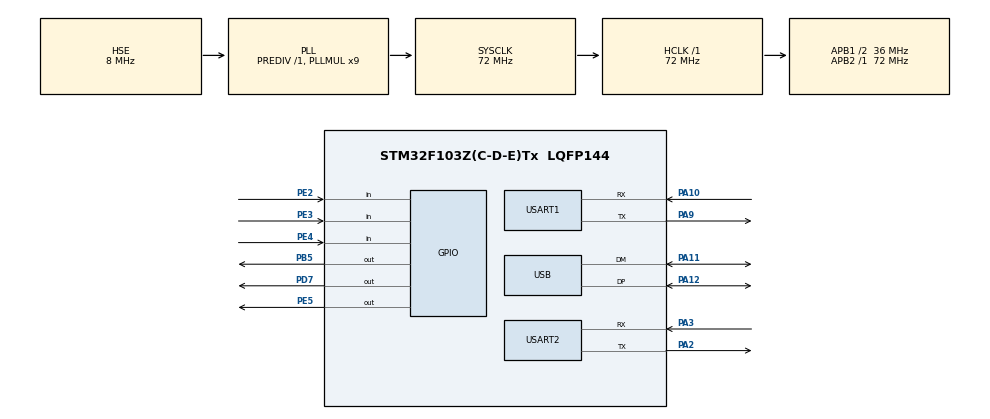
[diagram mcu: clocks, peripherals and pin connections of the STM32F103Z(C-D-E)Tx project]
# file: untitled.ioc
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FREERTOS.Tasks01=defaultTask,24,128,StartDefaultTask,Default,NULL,Dynamic,NULL,NULL;myLEDTask,8,128,StartLEDTask,Default,NULL,Dynamic,NULL,NULL;myUsart2Task,8,128,StartUsart2Task,Default,NULL,Dynamic,NULL,NULL;myUSBTask,8,128,StartUSBTask,Default,NULL,Dynamic,NULL,NULL
FREERTOS.configUSE_NEWLIB_REENTRANT=1
Mcu.Family=STM32F1
Mcu.Name=STM32F103Z(C-D-E)Tx
Mcu.Package=LQFP144
NVIC.PriorityGroup=NVIC_PRIORITYGROUP_4
NVIC.TIM2_IRQn=true\:5\:0\:false\:false\:true\:true\:true\:true\:true
NVIC.TIM7_IRQn=true\:15\:0\:false\:false\:true\:false\:false\:true\:true
NVIC.TimeBase=TIM7_IRQn
NVIC.TimeBaseIP=TIM7
NVIC.USART2_IRQn=true\:5\:0\:false\:false\:true\:true\:true\:true\:true
NVIC.USB_LP_CAN1_RX0_IRQn=true\:5\:0\:false\:false\:true\:true\:false\:true\:true
OSC_IN.Mode=HSE-External-Oscillator
OSC_IN.Signal=RCC_OSC_IN
OSC_OUT.Mode=HSE-External-Oscillator
OSC_OUT.Signal=RCC_OSC_OUT
PA10.Mode=Asynchronous
PA10.Signal=USART1_RX
PA11.Mode=Device
PA11.Signal=USB_DM
PA12.Mode=Device
PA12.Signal=USB_DP
PA13.Mode=Serial_Wire
PA13.Signal=SYS_JTMS-SWDIO
PA14.Mode=Serial_Wire
PA14.Signal=SYS_JTCK-SWCLK
PA2.Mode=Asynchronous
PA2.Signal=USART2_TX
PA3.Mode=Asynchronous
PA3.Signal=USART2_RX
PA9.Mode=Asynchronous
PA9.Signal=USART1_TX
PB5.Signal=GPIO_Output
PD7.Signal=GPIO_Output
PE2.Signal=GPIO_Input
PE3.Signal=GPIO_Input
PE4.Signal=GPIO_Input
PE5.Signal=GPIO_Output
ProjectManager.HeapSize=0x200
ProjectManager.StackSize=0x400
ProjectManager.TargetToolchain=STM32CubeIDE
RCC.AHBFreq_Value=72000000
RCC.APB1CLKDivider=RCC_HCLK_DIV2
RCC.APB1Freq_Value=36000000
RCC.APB1TimFreq_Value=72000000
RCC.APB2Freq_Value=72000000
RCC.APB2TimFreq_Value=72000000
RCC.HCLKFreq_Value=72000000
RCC.PLLMUL=RCC_PLL_MUL9
RCC.PLLSourceVirtual=RCC_PLLSOURCE_HSE
RCC.SYSCLKFreq_VALUE=72000000
RCC.SYSCLKSource=RCC_SYSCLKSOURCE_PLLCLK
RCC.USBFreq_Value=48000000
RCC.USBPrescaler=RCC_USBCLKSOURCE_PLL_DIV1_5
TIM2.Period=500
TIM2.Prescaler=72-1
USART1.VirtualMode=VM_ASYNC
USART2.VirtualMode=VM_ASYNC
USB_DEVICE.CLASS_NAME_FS=CUSTOM_HID
USB_DEVICE.USBD_CUSTOMHID_OUTREPORT_BUF_SIZE=64
USB_DEVICE.USBD_CUSTOM_HID_REPORT_DESC_SIZE=32
USB_DEVICE.VirtualMode=CustomHid
USB_DEVICE.VirtualModeFS=Custom_Hid_FS
VP_FREERTOS_VS_CMSIS_V2.Mode=CMSIS_V2
VP_SYS_VS_tim7.Mode=TIM7
VP_TIM2_VS_ClockSourceINT.Mode=Internal
VP_USB_DEVICE_VS_USB_DEVICE_CUSTOM_HID_FS.Mode=CUSTOM_HID_FS
board=custom

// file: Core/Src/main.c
/* USER CODE BEGIN Header */
/**
  ******************************************************************************
  * @file           : main.c
  * @brief          : Main program body
  ******************************************************************************
  * @attention
  *
  * Copyright (c) 2024 STMicroelectronics.
  * All rights reserved.
  *
  * This software is licensed under terms that can be found in the LICENSE file
  * in the root directory of this software component.
  * If no LICENSE file comes with this software, it is provided AS-IS.
  *
  ******************************************************************************
  */
/* USER CODE END Header */
#include "main.h"
#include "cmsis_os.h"
#include "usb_device.h"

/* USER CODE BEGIN Includes */
#include "semphr.h"
#include "user_task.h"
#include "user_gpio.h"
#include "user_usart.h"
#include "user_debug.h"
/* USER CODE END Includes */

/* USER CODE BEGIN PM */
extern uint8_t usart2_recv_array[1];
extern enum State current_state;
extern enum State next_state;
/* USER CODE END PM */

TIM_HandleTypeDef htim2;

UART_HandleTypeDef huart1;
UART_HandleTypeDef huart2;

/* Definitions for defaultTask */
osThreadId_t defaultTaskHandle;
const osThreadAttr_t defaultTask_attributes = {
  .name = "defaultTask",
  .stack_size = 128 * 4,
  .priority = (osPriority_t) osPriorityNormal,
};
/* Definitions for myLEDTask */
osThreadId_t myLEDTaskHandle;
const osThreadAttr_t myLEDTask_attributes = {
  .name = "myLEDTask",
  .stack_size = 128 * 4,
  .priority = (osPriority_t) osPriorityLow,
};
/* Definitions for myUsart2Task */
osThreadId_t myUsart2TaskHandle;
const osThreadAttr_t myUsart2Task_attributes = {
  .name = "myUsart2Task",
  .stack_size = 128 * 4,
  .priority = (osPriority_t) osPriorityLow,
};
/* USER CODE BEGIN PV */

SemaphoreHandle_t uart1_mutex;

/* USER CODE END PV */

void SystemClock_Config(void);
static void MX_GPIO_Init(void);
static void MX_USART1_UART_Init(void);
static void MX_USART2_UART_Init(void);
static void MX_TIM2_Init(void);
void StartDefaultTask(void *argument);
void StartLEDTask(void *argument);
void StartUsart2Task(void *argument);

int main(void)
{

  /* MCU Configuration--------------------------------------------------------*/

  /* Reset of all peripherals, Initializes the Flash interface and the Systick. */
  HAL_Init();

  /* USER CODE BEGIN Init */
  uart1_mutex = xSemaphoreCreateMutex();
  /* USER CODE END Init */

  /* Configure the system clock */
  SystemClock_Config();

  /* Initialize all configured peripherals */
  MX_GPIO_Init();
  MX_USART1_UART_Init();
  MX_USART2_UART_Init();
  MX_TIM2_Init();
  /* USER CODE BEGIN 2 */
  MX_USB_DEVICE_Init();
  HAL_TIM_Base_Start_IT(&htim2);
  HAL_UART_Receive_IT(&huart2, usart2_recv_array, 1);
  /* USER CODE END 2 */

  /* Init scheduler */
  osKernelInitialize();

  /* Create the thread(s) */
  /* creation of defaultTask */
  defaultTaskHandle = osThreadNew(StartDefaultTask, NULL, &defaultTask_attributes);

  /* creation of myLEDTask */
  myLEDTaskHandle = osThreadNew(StartLEDTask, NULL, &myLEDTask_attributes);

  /* creation of myUsart2Task */
  myUsart2TaskHandle = osThreadNew(StartUsart2Task, NULL, &myUsart2Task_attributes);

  /* Start scheduler */
  osKernelStart();

  /* We should never get here as control is now taken by the scheduler */

  /* Infinite loop */
  while (1)
  {

  }
}

void SystemClock_Config(void)
{
  RCC_OscInitTypeDef RCC_OscInitStruct = {0};
  RCC_ClkInitTypeDef RCC_ClkInitStruct = {0};
  RCC_PeriphCLKInitTypeDef PeriphClkInit = {0};

  /** Initializes the RCC Oscillators according to the specified parameters
  * in the RCC_OscInitTypeDef structure.
  */
  RCC_OscInitStruct.OscillatorType = RCC_OSCILLATORTYPE_HSE;
  RCC_OscInitStruct.HSEState = RCC_HSE_ON;
  RCC_OscInitStruct.HSEPredivValue = RCC_HSE_PREDIV_DIV1;
  RCC_OscInitStruct.HSIState = RCC_HSI_ON;
  RCC_OscInitStruct.PLL.PLLState = RCC_PLL_ON;
  RCC_OscInitStruct.PLL.PLLSource = RCC_PLLSOURCE_HSE;
  RCC_OscInitStruct.PLL.PLLMUL = RCC_PLL_MUL9;
  if (HAL_RCC_OscConfig(&RCC_OscInitStruct) != HAL_OK)
  {
    Error_Handler();
  }

  /** Initializes the CPU, AHB and APB buses clocks
  */
  RCC_ClkInitStruct.ClockType = RCC_CLOCKTYPE_HCLK|RCC_CLOCKTYPE_SYSCLK
                              |RCC_CLOCKTYPE_PCLK1|RCC_CLOCKTYPE_PCLK2;
  RCC_ClkInitStruct.SYSCLKSource = RCC_SYSCLKSOURCE_PLLCLK;
  RCC_ClkInitStruct.AHBCLKDivider = RCC_SYSCLK_DIV1;
  RCC_ClkInitStruct.APB1CLKDivider = RCC_HCLK_DIV2;
  RCC_ClkInitStruct.APB2CLKDivider = RCC_HCLK_DIV1;

  if (HAL_RCC_ClockConfig(&RCC_ClkInitStruct, FLASH_LATENCY_2) != HAL_OK)
  {
    Error_Handler();
  }
  PeriphClkInit.PeriphClockSelection = RCC_PERIPHCLK_USB;
  PeriphClkInit.UsbClockSelection = RCC_USBCLKSOURCE_PLL_DIV1_5;
  if (HAL_RCCEx_PeriphCLKConfig(&PeriphClkInit) != HAL_OK)
  {
    Error_Handler();
  }
}

static void MX_TIM2_Init(void)
{

  TIM_ClockConfigTypeDef sClockSourceConfig = {0};
  TIM_MasterConfigTypeDef sMasterConfig = {0};

  htim2.Instance = TIM2;
  htim2.Init.Prescaler = 72-1;
  htim2.Init.CounterMode = TIM_COUNTERMODE_UP;
  htim2.Init.Period = 500;
  htim2.Init.ClockDivision = TIM_CLOCKDIVISION_DIV1;
  htim2.Init.AutoReloadPreload = TIM_AUTORELOAD_PRELOAD_DISABLE;
  if (HAL_TIM_Base_Init(&htim2) != HAL_OK)
  {
    Error_Handler();
  }
  sClockSourceConfig.ClockSource = TIM_CLOCKSOURCE_INTERNAL;
  if (HAL_TIM_ConfigClockSource(&htim2, &sClockSourceConfig) != HAL_OK)
  {
    Error_Handler();
  }
  sMasterConfig.MasterOutputTrigger = TIM_TRGO_RESET;
  sMasterConfig.MasterSlaveMode = TIM_MASTERSLAVEMODE_DISABLE;
  if (HAL_TIMEx_MasterConfigSynchronization(&htim2, &sMasterConfig) != HAL_OK)
  {
    Error_Handler();
  }

}

static void MX_USART1_UART_Init(void)
{

  huart1.Instance = USART1;
  huart1.Init.BaudRate = 115200;
  huart1.Init.WordLength = UART_WORDLENGTH_8B;
  huart1.Init.StopBits = UART_STOPBITS_1;
  huart1.Init.Parity = UART_PARITY_NONE;
  huart1.Init.Mode = UART_MODE_TX_RX;
  huart1.Init.HwFlowCtl = UART_HWCONTROL_NONE;
  huart1.Init.OverSampling = UART_OVERSAMPLING_16;
  if (HAL_UART_Init(&huart1) != HAL_OK)
  {
    Error_Handler();
  }

}

static void MX_USART2_UART_Init(void)
{

  huart2.Instance = USART2;
  huart2.Init.BaudRate = 115200;
  huart2.Init.WordLength = UART_WORDLENGTH_8B;
  huart2.Init.StopBits = UART_STOPBITS_1;
  huart2.Init.Parity = UART_PARITY_NONE;
  huart2.Init.Mode = UART_MODE_TX_RX;
  huart2.Init.HwFlowCtl = UART_HWCONTROL_NONE;
  huart2.Init.OverSampling = UART_OVERSAMPLING_16;
  if (HAL_UART_Init(&huart2) != HAL_OK)
  {
    Error_Handler();
  }

}

static void MX_GPIO_Init(void)
{
  GPIO_InitTypeDef GPIO_InitStruct = {0};

  /* GPIO Ports Clock Enable */
  __HAL_RCC_GPIOE_CLK_ENABLE();
  __HAL_RCC_GPIOA_CLK_ENABLE();
  __HAL_RCC_GPIOD_CLK_ENABLE();
  __HAL_RCC_GPIOB_CLK_ENABLE();

  /*Configure GPIO pin Output Level */
  HAL_GPIO_WritePin(GPIOE, GPIO_PIN_5, GPIO_PIN_RESET);

  /*Configure GPIO pin Output Level */
  HAL_GPIO_WritePin(GPIOD, GPIO_PIN_7, GPIO_PIN_RESET);

  /*Configure GPIO pin Output Level */
  HAL_GPIO_WritePin(GPIOB, GPIO_PIN_5, GPIO_PIN_RESET);

  /*Configure GPIO pins : PE2 PE3 PE4 */
  GPIO_InitStruct.Pin = GPIO_PIN_2|GPIO_PIN_3|GPIO_PIN_4;
  GPIO_InitStruct.Mode = GPIO_MODE_INPUT;
  GPIO_InitStruct.Pull = GPIO_NOPULL;
  HAL_GPIO_Init(GPIOE, &GPIO_InitStruct);

  /*Configure GPIO pin : PE5 */
  GPIO_InitStruct.Pin = GPIO_PIN_5;
  GPIO_InitStruct.Mode = GPIO_MODE_OUTPUT_PP;
  GPIO_InitStruct.Pull = GPIO_NOPULL;
  GPIO_InitStruct.Speed = GPIO_SPEED_FREQ_LOW;
  HAL_GPIO_Init(GPIOE, &GPIO_InitStruct);

  /*Configure GPIO pin : PD7 */
  GPIO_InitStruct.Pin = GPIO_PIN_7;
  GPIO_InitStruct.Mode = GPIO_MODE_OUTPUT_PP;
  GPIO_InitStruct.Pull = GPIO_NOPULL;
  GPIO_InitStruct.Speed = GPIO_SPEED_FREQ_LOW;
  HAL_GPIO_Init(GPIOD, &GPIO_InitStruct);

  /*Configure GPIO pin : PB5 */
  GPIO_InitStruct.Pin = GPIO_PIN_5;
  GPIO_InitStruct.Mode = GPIO_MODE_OUTPUT_PP;
  GPIO_InitStruct.Pull = GPIO_NOPULL;
  GPIO_InitStruct.Speed = GPIO_SPEED_FREQ_LOW;
  HAL_GPIO_Init(GPIOB, &GPIO_InitStruct);

}

void StartDefaultTask(void *argument)
{
  /* init code for USB_DEVICE */
  MX_USB_DEVICE_Init();
  /* USER CODE BEGIN 5 */
  /* Infinite loop */
  for(;;)
  {
	  // test

//	  // 测试debug
//	  test_debug();

//	  // 测试485发�??
//	  Test_Usart2_Transmit();

	  // 系统状�?�机
	  stateTask();
	  osDelay(1);
  }
  /* USER CODE END 5 */
}

void StartLEDTask(void *argument)
{
  /* USER CODE BEGIN StartLEDTask */
  /* Infinite loop */
  for(;;)
  {
	  // test
//	  // 测试led
//	  test_led();

	  led_0_on();
	  led_1_on();
	  osDelay(1000);
	  led_0_off();
	  led_1_off();
	  osDelay(1000);
  }
  /* USER CODE END StartLEDTask */
}

void StartUsart2Task(void *argument)
{
  /* USER CODE BEGIN StartUsart2Task */
  /* Infinite loop */
  for(;;)
  {
	  if(current_state != next_state)
	  {
		  current_state = next_state;
		  Change_Screen_ID(current_state);
	  }
	  Usart2_Parse_Data();
	  osDelay(1);
  }
  /* USER CODE END StartUsart2Task */
}

void HAL_TIM_PeriodElapsedCallback(TIM_HandleTypeDef *htim)
{
  if (htim->Instance == TIM7) {
    HAL_IncTick();
  }
}

void Error_Handler(void)
{
  __disable_irq();
  while (1)
  {
  }
}
